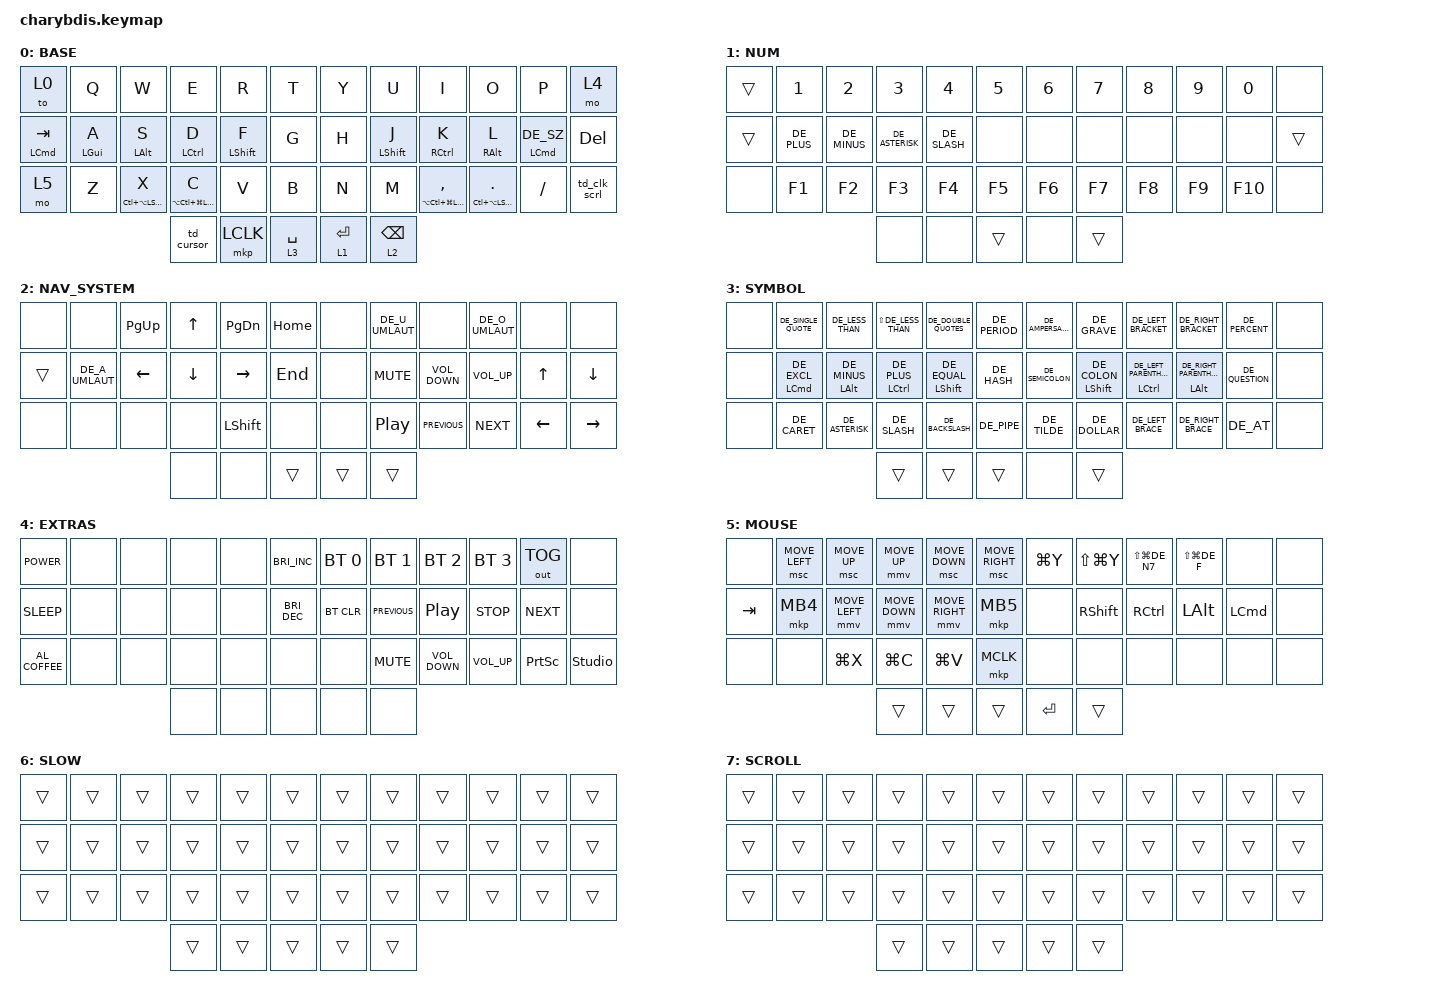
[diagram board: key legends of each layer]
#include <dt-bindings/zmk/mouse.h>
#include <behaviors/mouse_keys.dtsi>
#include "macros.dtsi"
#include "keys_de.h"
#include <behaviors.dtsi>
#include <dt-bindings/zmk/bt.h>
#include <dt-bindings/zmk/keys.h>
#include <dt-bindings/zmk/outputs.h>
#include <dt-bindings/zmk/pointing.h>

// / {
//     chosen { zmk,matrix_transform = &default_transform; };
// };

/ {
    /* input config for mouse move mode */

    trackball_listener {
        compatible = "zmk,input-behavior-listener";
        device = <&vtrackball>;
        layers = <0 2 5>;
        evt-type = <INPUT_EV_REL>;
        x-input-code = <INPUT_REL_X>;
        y-input-code = <INPUT_REL_Y>;
        scale-multiplier = <1>;
        scale-divisor = <2>;

        // bindings = <&ib_toggle_layer 7>;
    };

    /* input config for snipe mode */

    trackball_snipe_listener {
        compatible = "zmk,input-behavior-listener";
        device = <&vtrackball>;
        layers = <6>;
        evt-type = <INPUT_EV_REL>;
        x-input-code = <INPUT_REL_X>;
        y-input-code = <INPUT_REL_Y>;
        scale-multiplier = <1>;
        scale-divisor = <4>;
    };

    /* input config for mouse scroll mode */

    trackball_scroll_listener {
        compatible = "zmk,input-behavior-listener";
        device = <&vtrackball>;
        layers = <7>;
        evt-type = <INPUT_EV_REL>;
        x-input-code = <INPUT_REL_MISC>;
        y-input-code = <INPUT_REL_WHEEL>;
        y-invert;
        bindings = <&ib_wheel_scaler 1 14>;
    };

    /* define a resolution down scaler only for INPUT_REL_WHEEL */

    ib_wheel_scaler: ib_wheel_scaler {
        compatible = "zmk,input-behavior-scaler";
        #binding-cells = <2>;
        evt-type = <INPUT_EV_REL>;
        input-code = <INPUT_REL_WHEEL>;
    };

    /* adjust cooldown waiting period for mouse key layer after activated */

    ib_toggle_layer: ib_toggle_layer {
        compatible = "zmk,input-behavior-tog-layer";
        #binding-cells = <1>;
        time-to-live-ms = <750>;
    };

    behaviors {
        hm: homerow_mod {
            compatible = "zmk,behavior-hold-tap";
            #binding-cells = <2>;
            flavor = "tap-preferred";
            tapping-term-ms = <175>; // triggers the hold behavior when the tapping-term-ms has expired
            quick-tap-ms = <150>; // If you press a tapped hold-tap again within quick-tap-ms milliseconds of the first press, it will always trigger the tap behavior.
            require-prior-idle-ms = <185>; // like quick-tap-ms however it will apply for any non-modifier key pressed before it
            bindings = <&kp>, <&kp>;

            // hold, tap
        };

        td_cursor: td_scroll_or_cursor {
            compatible = "zmk,behavior-tap-dance";
            #binding-cells = <0>;
            bindings = <&lt 7 ESC>, <&to 6>;

            // hold, tap, double_tap
        };

        httl: ht_two_layers {
            compatible = "zmk,behavior-hold-tap";
            bindings = <&mo>, <&to>;

            #binding-cells = <2>;
            flavor = "balanced";
            tapping-term-ms = <125>;
        };

        td_layers: td_layer_swap {
            compatible = "zmk,behavior-tap-dance";
            #binding-cells = <0>;
            bindings = <&to 0>, <&to 0>, <&to 0>;

            // tap, double_tap, tripple_tap
        };

        td_clk_scrl: td_click_or_scroll {
            compatible = "zmk,behavior-tap-dance";
            #binding-cells = <0>;
            tapping-term-ms = <250>;
            bindings = <&mkp RCLK>, <&mo 5>;

            // tap/hold, double_tap
        };

        td_bore: BASE_or_EXTRA {
            compatible = "zmk,behavior-tap-dance";
            #binding-cells = <0>;
            bindings = <&mo 4>, <&to 0>;
        };
    };

    combos {
        compatible = "zmk,combos";

        CapsWord {
            bindings = <&caps_word>;
            key-positions = <17 18>;
            layers = <0>;
        };

        MiddleClick {
            bindings = <&mkp MCLK>;
            key-positions = <28 37>;
        };

        RightClick {
            bindings = <&mkp RCLK>;
            key-positions = <16 37>;
        };

        BASE_or_EXTRAS {
            bindings = <&td_bore>;
            key-positions = <38 39>;
        };
    };

    // ╭──────┬──────┬──────┬──────┬──────┬──────╮  ╭──────┬──────┬──────┬──────┬──────┬──────╮
    //    00     01     02     03    04      05        06     07     08     09     10     11
    // ├──────┼──────┼──────┼──────┼──────┼──────┤  ├──────┼──────┼──────┼──────┼──────┼──────┤
    //    12     13     14     15    16      17        18     19     20     21     22     23
    // ├──────┼──────┼──────┼──────┼──────┼──────┤  ├──────┼──────┼──────┼──────┼──────┼──────┤
    //    24     25     26     27    28      29        30     31     32     33     34     35
    // ╰──────┴──────┴──────┼──────┼──────┼──────┤  ├──────┼──────┼──────┴──────┴──────┴──────╯
    //                         36     37     38        39     40
    //                      ╰──────┴──────┴──────╯  ╰──────┴──────╯
    // #define BASE    0
    // #define NUM     1
    // #define NAV     2
    // #define SYM     3
    // #define EXTRAS  4
    // #define MOUSE   5
    // #define SLOW    6
    // #define SCROLL  7

    keymap {
        compatible = "zmk,keymap";

        BASE {
            display-name = "BASE";
            bindings = <
&to 0         &kp Q           &kp W                     &kp E                         &kp R             &kp T          &kp Y         &kp U             &kp I                             &kp O                       &kp P           &mo 4
&hm LCMD TAB  &hm LEFT_GUI A  &hm LEFT_ALT S            &hm LCTRL D                   &hm LEFT_SHIFT F  &kp G          &kp H         &hm LEFT_SHIFT J  &hm RCTRL K                       &hm RIGHT_ALT L             &hm LCMD DE_SZ  &kp DEL
&mo 5         &kp Z           &hm LC(LA(LEFT_SHIFT)) X  &hm LA(LC(LG(LEFT_SHIFT))) C  &kp V             &kp B          &kp N         &kp M             &hm LA(LC(LG(LEFT_SHIFT))) COMMA  &hm LC(LA(LEFT_SHIFT)) DOT  &kp FSLH        &td_clk_scrl
                                                        &td_cursor                    &mkp LCLK         &lt 3 SPACE    &lt 1 RETURN  &lt 2 BACKSPACE
            >;
        };

        NUM {
            display-name = "NUM";
            bindings = <
&trans  &kp N1       &kp N2        &kp N3           &kp NUMBER_4  &kp NUMBER_5    &kp N6  &kp N7  &kp N8  &kp N9  &kp N0   &none
&trans  &kp DE_PLUS  &kp DE_MINUS  &kp DE_ASTERISK  &kp DE_SLASH  &none           &none   &none   &none   &none   &none    &trans
&none   &kp F1       &kp F2        &kp F3           &kp F4        &kp F5          &kp F6  &kp F7  &kp F8  &kp F9  &kp F10  &none
                                   &none            &none         &trans          &none   &trans
            >;
        };

        NAV_SYSTEM {
            display-name = "NAV_SYSTEM";
            bindings = <
&none   &none            &kp PAGE_UP     &kp UP    &kp PAGE_DOWN   &kp HOME    &none   &kp DE_U_UMLAUT   &none              &kp DE_O_UMLAUT  &none     &none
&trans  &kp DE_A_UMLAUT  &kp LEFT_ARROW  &kp DOWN  &kp RIGHT       &kp END     &none   &kp C_MUTE        &kp C_VOLUME_DOWN  &kp C_VOLUME_UP  &kp UP    &kp DOWN
&none   &none            &none           &none     &kp LEFT_SHIFT  &none       &none   &kp C_PLAY_PAUSE  &kp C_PREVIOUS     &kp C_NEXT       &kp LEFT  &kp RIGHT
                                         &none     &none           &trans      &trans  &trans
            >;
        };

        SYM {
            display-name = "SYMBOL";
            bindings = <
&none  &kp DE_SINGLE_QUOTE  &kp DE_LESS_THAN       &kp LS(DE_LESS_THAN)  &kp DE_DOUBLE_QUOTES     &kp DE_PERIOD    &kp DE_AMPERSAND  &kp DE_GRAVE             &kp DE_LEFT_BRACKET            &kp DE_RIGHT_BRACKET               &kp DE_PERCENT   &none
&none  &hm LCMD DE_EXCL     &hm LEFT_ALT DE_MINUS  &hm LCTRL DE_PLUS     &hm LEFT_SHIFT DE_EQUAL  &kp DE_HASH      &kp DE_SEMICOLON  &hm LEFT_SHIFT DE_COLON  &hm LCTRL DE_LEFT_PARENTHESIS  &hm LEFT_ALT DE_RIGHT_PARENTHESIS  &kp DE_QUESTION  &none
&none  &kp DE_CARET         &kp DE_ASTERISK        &kp DE_SLASH          &kp DE_BACKSLASH         &kp DE_PIPE      &kp DE_TILDE      &kp DE_DOLLAR            &kp DE_LEFT_BRACE              &kp DE_RIGHT_BRACE                 &kp DE_AT        &none
                                                   &trans                &trans                   &trans           &none             &trans
            >;
        };

        EXTRAS {
            display-name = "EXTRAS";
            bindings = <
&kp C_POWER      &none  &none  &none  &none  &kp C_BRIGHTNESS_INC    &bt BT_SEL 0  &bt BT_SEL 1    &bt BT_SEL 2       &bt BT_SEL 3     &out OUT_TOG     &none
&kp C_SLEEP      &none  &none  &none  &none  &kp C_BRIGHTNESS_DEC    &bt BT_CLR    &kp C_PREVIOUS  &kp C_PLAY_PAUSE   &kp C_STOP       &kp C_NEXT       &none
&kp C_AL_COFFEE  &none  &none  &none  &none  &none                   &none         &kp K_MUTE      &kp C_VOLUME_DOWN  &kp C_VOLUME_UP  &kp PRINTSCREEN  &studio_unlock
                               &none  &none  &none                   &none         &none
            >;
        };

        MOUSE {
            display-name = "MOUSE";
            bindings = <
&none    &msc MOVE_LEFT  &msc MOVE_UP    &mmv MOVE_UP    &msc MOVE_DOWN   &msc MOVE_RIGHT    &kp LG(Y)   &kp LS(LG(Y))    &kp LS(LG(DE_N7))  &kp LS(LG(DE_F))  &none     &none
&kp TAB  &mkp MB4        &mmv MOVE_LEFT  &mmv MOVE_DOWN  &mmv MOVE_RIGHT  &mkp MB5           &none       &kp RIGHT_SHIFT  &kp RCTRL          &kp LEFT_ALT      &kp LCMD  &none
&none    &none           &kp LG(X)       &kp LG(C)       &kp LG(V)        &mkp MCLK          &none       &none            &none              &none             &none     &none
                                         &trans          &trans           &trans             &kp RETURN  &trans
            >;
        };

        SLOW {
            display-name = "SLOW";
            bindings = <
&trans  &trans  &trans  &trans  &trans  &trans    &trans  &trans  &trans  &trans  &trans  &trans
&trans  &trans  &trans  &trans  &trans  &trans    &trans  &trans  &trans  &trans  &trans  &trans
&trans  &trans  &trans  &trans  &trans  &trans    &trans  &trans  &trans  &trans  &trans  &trans
                        &trans  &trans  &trans    &trans  &trans
            >;
        };

        SCROLL {
            display-name = "SCROLL";
            bindings = <
&trans  &trans  &trans  &trans  &trans  &trans    &trans  &trans  &trans  &trans  &trans  &trans
&trans  &trans  &trans  &trans  &trans  &trans    &trans  &trans  &trans  &trans  &trans  &trans
&trans  &trans  &trans  &trans  &trans  &trans    &trans  &trans  &trans  &trans  &trans  &trans
                        &trans  &trans  &trans    &trans  &trans
            >;
        };
    };
};
